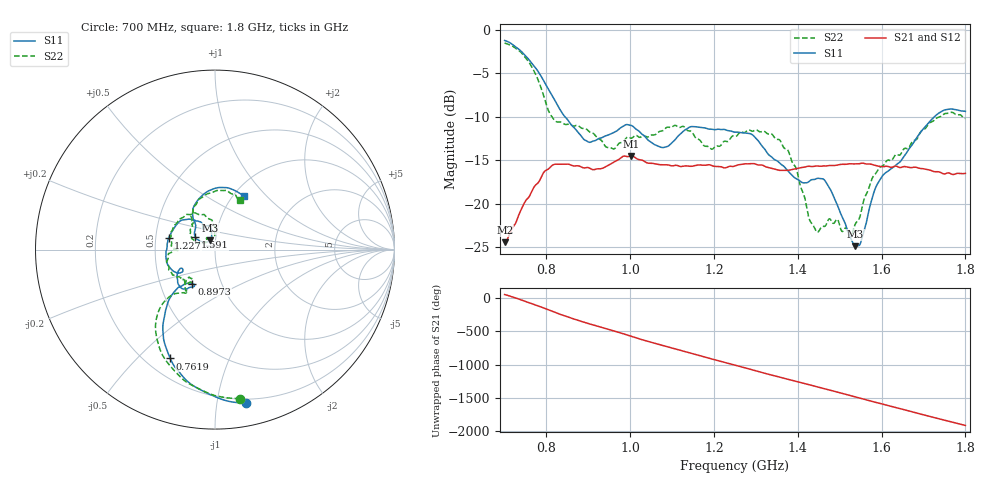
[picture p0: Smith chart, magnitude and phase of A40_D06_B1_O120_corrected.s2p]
! Created with skrf 1.9.0 (http://scikit-rf.org).
# Hz S RI R 50.0
!freq ReS11 ImS11 ReS21 ImS21 ReS12 ImS12 ReS22 ImS22
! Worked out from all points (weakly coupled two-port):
!   1601 points, 700 MHz to 1.8 GHz, reference 50 ohm
!   highest |S21| = -14.50 dB at 1.002 GHz (marker M1); lowest = -24.5 dB at 700.7 MHz (marker M2)
!   lowest |S11| = -24.9 dB at 1.537 GHz (marker M3), VSWR 1.12, Z = 47.3 + j4.83 ohm
!   |S11| at or under -10 dB: 844.3 MHz to 1.726 GHz (881.7 MHz wide, 68.6 % of centre)
!   |S22| runs from -23.9 to -1.5 dB; largest |S21 - S12| = 0.0034
!   S11 on the Smith chart (normalised r, x): 700 MHz: 0.17, -1.21; 761.9 MHz: 0.30, -0.63; 897.3 MHz: 0.72, -0.29; 1.227 GHz: 0.58, +0.08; 1.591 GHz: 0.79, +0.11; 1.8 GHz: 1.12, +0.76
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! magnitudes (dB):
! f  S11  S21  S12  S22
! 700 MHz  -1.2  -24.4  -24.2  -1.5
! 700.7 MHz  -1.2  -24.5  -24.1  -1.5
! 761.9 MHz  -3.7  -18.9  -18.9  -4.0
! 816.9 MHz  -7.8  -15.5  -15.6  -10.3
! 883.6 MHz  -12.3  -15.8  -15.7  -11.3
! 897.3 MHz  -12.8  -15.8  -15.9  -11.5
! 957.1 MHz  -11.9  -15.3  -15.3  -13.7
! 1.002 GHz  -11.0  -14.5  -14.6  -12.5
! 1.067 GHz  -13.4  -15.5  -15.4  -11.8
! 1.144 GHz  -11.1  -15.7  -15.7  -11.7
! 1.227 GHz  -11.5  -15.9  -15.8  -12.8
! 1.25 GHz  -11.8  -15.7  -15.6  -12.3
! 1.357 GHz  -15.4  -16.2  -16.1  -12.7
! 1.395 GHz  -17.1  -16.0  -16.0  -15.8
! 1.434 GHz  -17.2  -15.7  -15.7  -22.3
! 1.469 GHz  -17.7  -15.7  -15.6  -22.3
! 1.525 GHz  -23.9  -15.4  -15.4  -23.9
! 1.537 GHz  -24.9  -15.4  -15.4  -22.4
! 1.591 GHz  -17.7  -15.7  -15.7  -16.1
! 1.617 GHz  -16.2  -15.8  -15.7  -15.0
! 1.733 GHz  -9.7  -16.3  -16.4  -10.1
! 1.8 GHz  -9.4  -16.5  -16.5  -10.2
